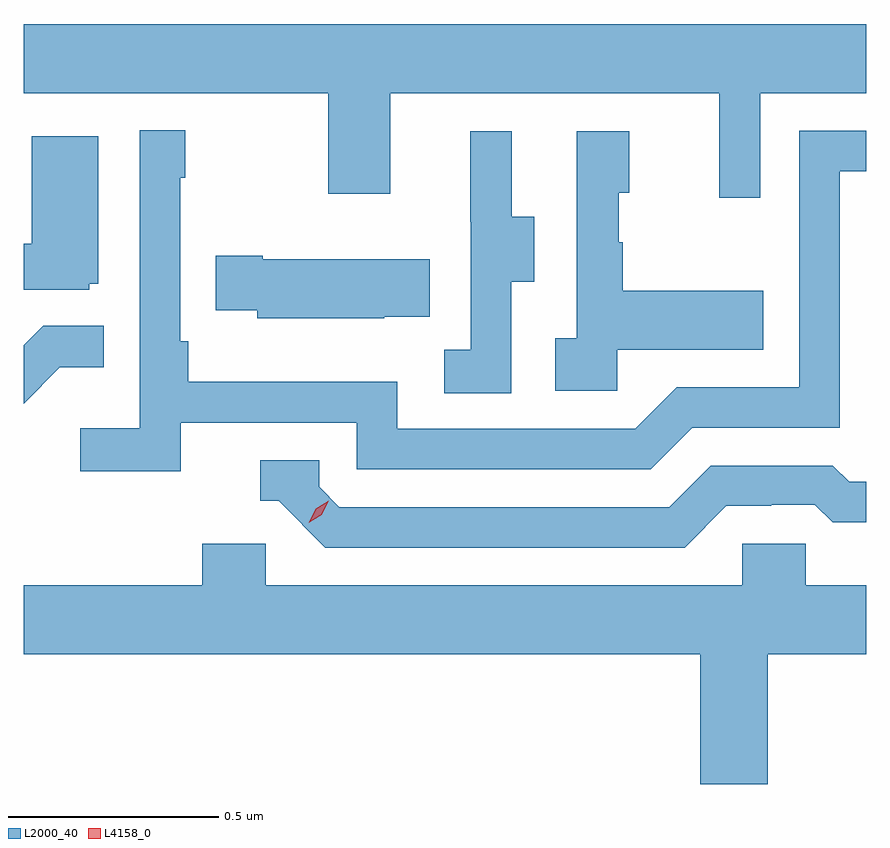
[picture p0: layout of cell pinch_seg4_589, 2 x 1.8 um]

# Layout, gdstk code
import gdstk
lib = gdstk.Library(unit=1e-6, precision=1e-09)
def P(c, l, *ps):  # polygons
    for p in ps: c.add(gdstk.Polygon(p, *l))
L2000_40 = (2000, 40)
L4158_0 = (4158, 0)

pinch_seg4_589 = lib.new_cell('pinch_seg4_589')
P(pinch_seg4_589, L2000_40, [(1061.733,779.504),(1061.985,779.504),(1061.985,779.668),(1059.985,779.668),(1059.985,779.504),(1060.708,779.504),(1060.708,779.265),(1060.855,779.265),(1060.855,779.504),(1061.636,779.504),(1061.636,779.256),(1061.733,779.256)],
  [(1060.358,778.722),(1060.776,778.722),(1060.776,778.611),(1061.473,778.611),(1061.572,778.71),(1061.922,778.71),(1061.922,779.319),(1061.985,779.319),(1061.985,779.415),(1061.826,779.415),(1061.826,778.806),(1061.535,778.806),(1061.436,778.707),(1060.872,778.707),(1060.872,778.819),(1060.376,778.819),(1060.376,778.915),(1060.356,778.915),(1060.356,779.303),(1060.369,779.303),(1060.369,779.416),(1060.26,779.416),(1060.26,778.708),(1060.119,778.708),(1060.119,778.606),(1060.358,778.606)],
  [(1061.394,778.895),(1061.741,778.895),(1061.741,779.035),(1061.407,779.035),(1061.407,779.15),(1061.397,779.15),(1061.397,779.268),(1061.422,779.268),(1061.422,779.413),(1061.298,779.413),(1061.298,778.922),(1061.247,778.922),(1061.247,778.797),(1061.394,778.797)],
  [(1061.142,779.056),(1061.197,779.056),(1061.197,779.211),(1061.143,779.211),(1061.143,779.413),(1061.045,779.413),(1061.045,779.199),(1061.046,779.199),(1061.046,778.895),(1060.983,778.895),(1060.983,778.792),(1061.142,778.792)],
  [(1060.14,779.052),(1060.162,779.052),(1060.162,779.401),(1060.004,779.401),(1060.004,779.146),(1059.985,779.146),(1059.985,779.037),(1060.14,779.037)],
  [(1060.841,778.973),(1060.949,778.973),(1060.949,779.11),(1060.552,779.11),(1060.552,779.118),(1060.441,779.118),(1060.441,778.988),(1060.539,778.988),(1060.539,778.97),(1060.841,778.97)],
  [(1060.071,778.853),(1060.175,778.853),(1060.175,778.952),(1060.031,778.952),(1059.985,778.906),(1059.985,778.767)],
  [(1061.653,778.524),(1061.76,778.524),(1061.76,778.527),(1061.863,778.527),(1061.905,778.485),(1061.985,778.485),(1061.985,778.581),(1061.944,778.581),(1061.905,778.62),(1061.616,778.62),(1061.517,778.521),(1060.734,778.521),(1060.686,778.569),(1060.686,778.632),(1060.547,778.632),(1060.547,778.536),(1060.59,778.536),(1060.701,778.425),(1061.554,778.425)],
  [(1060.409,778.434),(1060.409,778.336),(1059.985,778.336),(1059.985,778.172),(1061.591,778.172),(1061.591,777.864),(1061.751,777.864),(1061.751,778.172),(1061.985,778.172),(1061.985,778.336),(1061.841,778.336),(1061.841,778.434),(1061.691,778.434),(1061.691,778.336),(1060.56,778.336),(1060.56,778.434)])
P(pinch_seg4_589, L4158_0, [(1060.662,778.484),(1060.662,778.484),(1060.678,778.517),(1060.709,778.536),(1060.709,778.536),(1060.709,778.536),(1060.693,778.503),(1060.662,778.484)])

lib.write_gds('pinch_seg4_589.gds')
